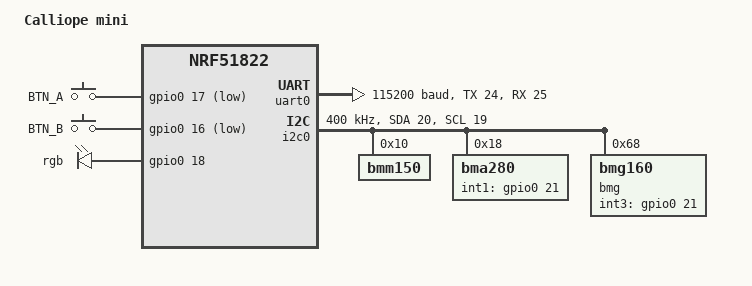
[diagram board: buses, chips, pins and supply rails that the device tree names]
/*
 * Copyright (c) 2019 Matthias Wauer
 *
 * SPDX-License-Identifier: Apache-2.0
 */

/dts-v1/;
#include <nordic/nrf51822_qfaa.dtsi>

/ {
	model = "Calliope mini";
	compatible = "calliope,mini", "nordic,nrf51822-qfaa", "nordic,nrf51822";

	/* These aliases are provided for compatibility with samples */
	aliases {
		sw0 = &buttonA;
		sw1 = &buttonB;
		bma280 = &bma280;
	};

	chosen {
		zephyr,console = &uart0;
		zephyr,shell-uart = &uart0;
		zephyr,bt-mon-uart = &uart0;
		zephyr,sram = &sram0;
		zephyr,flash = &flash0;
		zephyr,code-partition = &slot0_partition;
	};

	gpio_keys {
		compatible = "gpio-keys";
		buttonA: button_0 {
			label = "BTN_A";
			gpios = <&gpio0 17 GPIO_INT_ACTIVE_LOW>;
		};

		buttonB: button_1 {
			label = "BTN_B";
			gpios = <&gpio0 16 GPIO_INT_ACTIVE_LOW>;
		};
	};

	leds {
		compatible = "ws2812b_sw";
		led_rgb: led_rgb {
			gpios = <&gpio0 18 0>;
			label = "rgb";
		};
	};
};

&gpiote {
	status ="okay";
};

&gpio0 {
	status ="okay";
};

&uart0 {
	status = "okay";
	current-speed = <115200>;
	tx-pin = <24>;
	rx-pin = <25>;
};

/* expansion */
/*
&uart1 {
	status = "disabled";
	current-speed = <115200>;
	tx-pin = <EXT_TX_GPIO_PIN>;
	rx-pin = <EXT_RX_GPIO_PIN>:
};
*/

&i2c0 {
	status = "okay";
	clock-frequency = <I2C_BITRATE_FAST>;
	sda-pin = <20>;
	scl-pin = <19>;



	/* BMX055 combines 3 sensors */
	/* geo magnetic sensor */
	bmm150@10 {
		compatible = "bmm150";
		reg = <0x10>;
		label = "bmm150";
		status = "okay";
	};
	/* bmx055 accelerometer */
	bma280: bma280@18 {
		compatible = "bma280";
		reg = <0x18>;
		label = "bma280";
		status = "okay";
		/* shared interrrupt w/ bmg160 */
		int1-gpios = <&gpio0 21 0>;
	};
	/* bmx055 gyro */
	bmg160@68 {
		compatible = "bmg160";
		reg = <0x68>;
		label = "bmg";
		status = "okay";
		/* shared interrupt w/ bma280 */
		int3-gpios = <&gpio0 21 0>;
	};

};

&flash0 {
	/*
	 * For more information, see:
	 * http://docs.zephyrproject.org/latest/guides/dts/index.html#flash-partitions
	 */
	partitions {
		compatible = "fixed-partitions";
		#address-cells = <1>;
		#size-cells = <1>;

		boot_partition: partition@0 {
			label = "mcuboot";
			reg = <0x00000000 0x8000>;
		};
		slot0_partition: partition@8000 {
			label = "image-0";
			reg = <0x00008000 0x1a000>;
		};
		slot1_partition: partition@22000 {
			label = "image-1";
			reg = <0x00022000 0x1a000>;
		};
		scratch_partition: partition@3c000 {
			label = "image-scratch";
			reg = <0x0003c000 0x2000>;
		};
		storage_partition: partition@3e000 {
			label = "storage";
			reg = <0x0003e000 0x00002000>;
		};
	};
};
